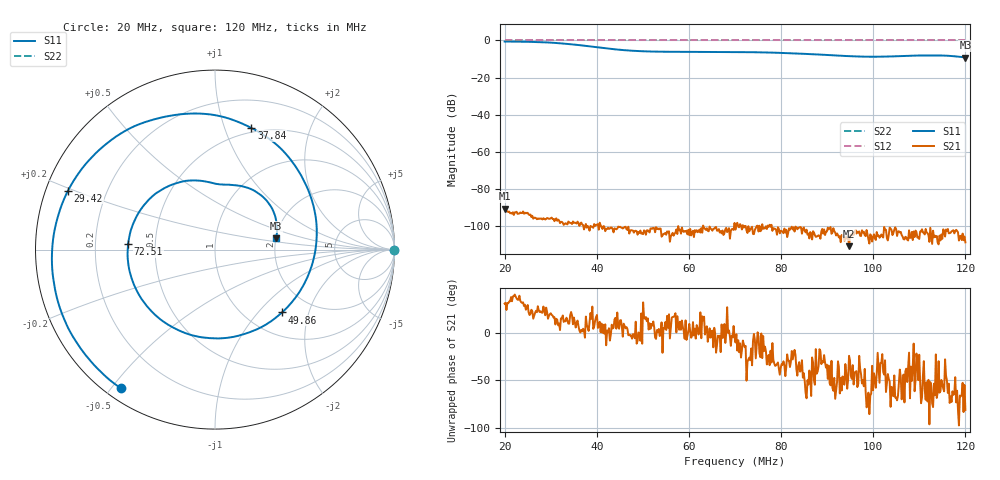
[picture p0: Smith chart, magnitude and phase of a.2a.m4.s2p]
! Anritsu VNA Master:  Model: MS2036C/10/77
! SN:  1601066
! /bd0/18may09/252.ew.m4.s2p
! Existing Calibration Information:
! TYPE:  Current Settings,  Active Cal Settings
! TIME:  05/09/2018 08:12:45 AM,  05/09/2018 08:04:56 AM
! INTERNAL TEMP:  41.8 C,  42.3 C
! # POINTS:  500,  500
! START FREQ:  20.000 MHz,  20.000 MHz
! STOP FREQ:  120.000 MHz,  120.000 MHz
! SOURCE POWER:  High,  High
! IFBW:  50 Hz,  50 Hz
! AVG FACTOR:  1 ,  1
! REF PLANE 1:  0 mm,  0 mm
! REF PLANE 2:  0 mm,  0 mm
! CAL TYPE:  Full S11,  Full S11
! CAL METHOD:  SOLT,  SOLT
! CAL LINE TYPE:  Coax,  Coax
! DUT PORT 1:  K-Conn(F),  K-Conn(F)
! DUT PORT 2:  K-Conn(F),  K-Conn(F)
! CAL STATUS:  OK: Accuracy High,  --
# GHZ S DB R 50.0
! FREQ.GHZ  S11DB  S11A  S21DB  S21A  S12DB  S12A  S22DB  S22A
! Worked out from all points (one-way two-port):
!   500 points, 20 MHz to 120 MHz, reference 50 ohm
!   highest |S21| = -90.55 dB at 20 MHz (marker M1); lowest = -110.8 dB at 94.75 MHz (marker M2)
!   lowest |S11| = -9.2 dB at 120 MHz (marker M3), VSWR 2.06, Z = 100 + j14.3 ohm
!   |S11| at or under -10 dB: nowhere
!   |S22| runs from 0.0 to 0.0 dB; largest |S21 - S12| = 1
!   S11 on the Smith chart (normalised r, x): 20 MHz: 0.04, -0.53; 29.42 MHz: 0.06, +0.19; 37.84 MHz: 0.46, +1.24; 49.86 MHz: 1.43, -1.36; 72.51 MHz: 0.35, +0.03; 120 MHz: 2.01, +0.29
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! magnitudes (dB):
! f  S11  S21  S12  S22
! 20 MHz  -0.6  -90.6  0.0  0.0
! 24.81 MHz  -0.7  -92.9  0.0  0.0
! 29.42 MHz  -1.1  -95.8  0.0  0.0
! 32.63 MHz  -1.6  -98.3  0.0  0.0
! 36.83 MHz  -2.7  -99.1  0.0  0.0
! 37.84 MHz  -3.0  -100.9  0.0  0.0
! 41.64 MHz  -4.2  -100.3  0.0  0.0
! 44.45 MHz  -4.9  -101.4  0.0  0.0
! 47.05 MHz  -5.4  -104.1  0.0  0.0
! 49.86 MHz  -5.8  -103.8  0.0  0.0
! 53.47 MHz  -6.1  -101.7  0.0  0.0
! 70.1 MHz  -6.2  -101.9  0.0  0.0
! 72.51 MHz  -6.3  -102.5  0.0  0.0
! 80.52 MHz  -6.7  -103.8  0.0  0.0
! 86.73 MHz  -7.4  -107.2  0.0  0.0
! 94.75 MHz  -8.4  -110.8  0.0  0.0
! 98.96 MHz  -8.8  -107.3  0.0  0.0
! 103.4 MHz  -8.6  -104.8  0.0  0.0
! 109.8 MHz  -8.1  -106.1  0.0  0.0
! 113.8 MHz  -8.0  -105.3  0.0  0.0
! 116.8 MHz  -8.3  -103.6  0.0  0.0
! 120 MHz  -9.2  -108.8  0.0  0.0
